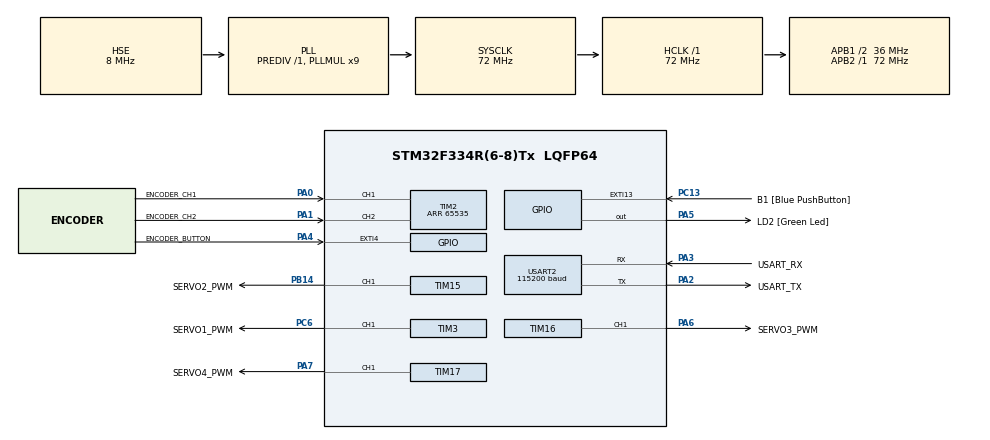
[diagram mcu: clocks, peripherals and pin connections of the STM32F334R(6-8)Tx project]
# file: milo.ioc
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Mcu.Family=STM32F3
TIM15.AutoReloadPreload=TIM_AUTORELOAD_PRELOAD_ENABLE
TIM17.Prescaler=TIM17_PWM_PRESCALER
RCC.CortexFreq_Value=72000000
VP_TIM17_VS_ClockSourceINT.Mode=Enable_Timer
PF0\ /\ OSC_IN.Mode=HSE-External-Clock-Source
PB14.GPIO_Label=SERVO2_PWM
PA14.GPIO_Label=TCK
RCC.SYSCLKSourceVirtual=RCC_SYSCLKSOURCE_PLLCLK
PA0.GPIO_Label=ENCODER_CH1
PC6.GPIO_Label=SERVO1_PWM
PA6.GPIO_Label=SERVO3_PWM
TIM2.EncoderMode=TIM_ENCODERMODE_TI1
PC13.GPIO_Label=B1 [Blue PushButton]
NVIC.TIM6_DAC1_IRQn=true\:0\:0\:false\:false\:true\:true\:true
ProjectManager.StackSize=0x400
TIM17.AutoReloadPreload=TIM_AUTORELOAD_PRELOAD_ENABLE
Mcu.UserConstants=TIM15_PWM_PRESCALER,71;TIM15_PWM_PERIOD,19999;TIM16_PWM_PRESCALER,71;TIM16_PWM_PERIOD,19999;TIM17_PWM_PRESCALER,71;TIM17_PWM_PERIOD,19999;TIM3_PWM_PRESCALER,71;TIM3_PWM_PERIOD,19999;TIM6_PRINT_PRESCALER,7199;TIM6_PRINT_PERIOD,9999
TIM15.Prescaler=TIM15_PWM_PRESCALER
RCC.HCLKFreq_Value=72000000
RCC.APB2TimFreq_Value=72000000
TIM3.Period=TIM3_PWM_PERIOD
RCC.AHBFreq_Value=72000000
TIM3.Channel-PWM\ Generation1\ CH1=TIM_CHANNEL_1
NVIC.EXTI15_10_IRQn=true\:0\:0\:false\:false\:true\:true\:true
RCC.HSE_VALUE=8000000
PA4.GPIO_PuPd=GPIO_PULLUP
TIM17.Channel=TIM_CHANNEL_1
USART2.VirtualMode-Asynchronous=VM_ASYNC
RCC.PLLMUL=RCC_PLL_MUL9
PC14\ /\ OSC32_IN.Mode=LSE-External-Oscillator
TIM15.Period=TIM15_PWM_PERIOD
TIM17.Period=TIM17_PWM_PERIOD
PC14\ /\ OSC32_IN.Signal=RCC_OSC32_IN
PA14.Mode=Serial_Wire
PC15\ /\ OSC32_OUT.Signal=RCC_OSC32_OUT
TIM3.Prescaler=TIM3_PWM_PRESCALER
SH.S_TIM3_CH1.0=TIM3_CH1,PWM Generation1 CH1
TIM6.Period=TIM6_PRINT_PERIOD
PA0.Signal=S_TIM2_CH1_ETR
RCC.FLatency-AdvancedSettings=FLASH_LATENCY_2
Mcu.Package=LQFP64
PA6.Signal=S_TIM16_CH1
PA2.GPIO_Label=USART_TX
PC15\ /\ OSC32_OUT.Mode=LSE-External-Oscillator
TIM16.AutoReloadPreload=TIM_AUTORELOAD_PRELOAD_ENABLE
RCC.APB1TimFreq_Value=72000000
TIM16.Prescaler=TIM16_PWM_PRESCALER
PA4.GPIO_Label=ENCODER_BUTTON
TIM15.Channel-PWM\ Generation1\ CH1=TIM_CHANNEL_1
PA3.Signal=USART2_RX
PB3.GPIO_Label=SWO
RCC.PLLSourceVirtual=RCC_PLLSOURCE_HSE
NVIC.EXTI4_IRQn=true\:0\:0\:false\:false\:true\:true\:true
TIM3.AutoReloadPreload=TIM_AUTORELOAD_PRELOAD_ENABLE
TIM2.IC1Filter=15
PC13.Signal=GPXTI13
TIM6.Prescaler=TIM6_PRINT_PRESCALER
PC6.Signal=S_TIM3_CH1
VP_TIM6_VS_ClockSourceINT.Mode=Enable_Timer
SH.S_TIM16_CH1.0=TIM16_CH1,PWM Generation1 CH1
VP_TIM16_VS_ClockSourceINT.Mode=Enable_Timer
RCC.APB1CLKDivider=RCC_HCLK_DIV2
NVIC.USART2_IRQn=true\:0\:0\:false\:false\:true\:true\:true
TIM16.Channel=TIM_CHANNEL_1
USART2.BaudRate=115200
PA13.Signal=SYS_JTMS-SWDIO
PA3.Mode=Asynchronous
SH.S_TIM2_CH2.0=TIM2_CH2,Encoder_Interface
ProjectManager.TargetToolchain=STM32CubeIDE
PA4.GPIO_ModeDefaultEXTI=GPIO_MODE_IT_FALLING
PA1.Signal=S_TIM2_CH2
PF1\ /\ OSC_OUT.Signal=RCC_OSC_OUT
PB14.Signal=S_TIM15_CH1
PA5.Signal=GPIO_Output
board=NUCLEO-F334R8
SH.S_TIM15_CH1.0=TIM15_CH1,PWM Generation1 CH1
TIM16.Period=TIM16_PWM_PERIOD
RCC.APB2Freq_Value=72000000
PF0\ /\ OSC_IN.Signal=RCC_OSC_IN
PA1.GPIO_Label=ENCODER_CH2
TIM2.Period=65535
PC15\ /\ OSC32_OUT.GPIO_Label=RCC_OSC32_OUT
PA13.Mode=Serial_Wire
Mcu.Name=STM32F334R(6-8)Tx
PA2.Signal=USART2_TX
PA13.GPIO_Label=TMS
PB3.Signal=SYS_JTDO-TRACESWO
PA4.Signal=GPXTI4
RCC.SYSCLKFreq_VALUE=72000000
PA7.GPIO_Label=SERVO4_PWM
PA5.GPIO_Label=LD2 [Green Led]
PC13.GPIO_ModeDefaultEXTI=GPIO_MODE_IT_FALLING
SH.S_TIM2_CH1_ETR.0=TIM2_CH1,Encoder_Interface
PA14.Signal=SYS_JTCK-SWCLK
ProjectManager.HeapSize=0x200
RCC.HSI_VALUE=8000000
SH.S_TIM17_CH1.0=TIM17_CH1,PWM Generation1 CH1
NVIC.PriorityGroup=NVIC_PRIORITYGROUP_0
PA2.Mode=Asynchronous
RCC.APB1Freq_Value=36000000
TIM2.IC2Filter=15
PA3.GPIO_Label=USART_RX
PA7.Signal=S_TIM17_CH1

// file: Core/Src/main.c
/* USER CODE BEGIN Header */
/**
  ******************************************************************************
  * @file           : main.c
  * @brief          : Main program body
  ******************************************************************************
  * @attention
  *
  * <h2><center>&copy; Copyright (c) 2021 STMicroelectronics.
  * All rights reserved.</center></h2>
  *
  * This software component is licensed by ST under BSD 3-Clause license,
  * the "License"; You may not use this file except in compliance with the
  * License. You may obtain a copy of the License at:
  *                        opensource.org/licenses/BSD-3-Clause
  *
  ******************************************************************************
  */
/* USER CODE END Header */
#include "main.h"
#include "tim.h"
#include "usart.h"
#include "gpio.h"

/* USER CODE BEGIN Includes */

#include <stdio.h>
#include <stdlib.h>
#include "servo.h"
#include "manipulator.h"

/* USER CODE END Includes */

/* USER CODE BEGIN PTD */

#define IS_NUMERIC_STRING(d) (*(char*)d >= 48) && (*(char*)d<= 57)
#define CONVERSION(d,k)  ((d<<3) +(d<<1))+(*(char*)k-48);

uint32_t
string_to_int(uint8_t *pszBuffer) {
    uint32_t u32Number=0;
    while( IS_NUMERIC_STRING(pszBuffer)) {
        u32Number=CONVERSION(u32Number,pszBuffer);
        pszBuffer++;
    }
    return u32Number;
}

/* USER CODE END PTD */

/* USER CODE BEGIN PV */

UART_HandleTypeDef huart2;
uint32_t button = 0;
uint8_t message;
uint8_t set[5];
int16_t enc_val;
manipulator_t milo = { 0 };
uint16_t servo_angle[3] = { 0 };
uint8_t mode = 0;

/* USER CODE END PV */

void SystemClock_Config(void);
/* USER CODE BEGIN PFP */

int
_write(int file, uint8_t *ptr, int len) {
	HAL_UART_Transmit_IT(&huart2, ptr, len);
	return len;
}

/* USER CODE END PFP */

int main(void)
{

  /* MCU Configuration--------------------------------------------------------*/

  /* Reset of all peripherals, Initializes the Flash interface and the Systick. */
  HAL_Init();

  /* Configure the system clock */
  SystemClock_Config();

  /* Initialize all configured peripherals */
  MX_GPIO_Init();
  MX_USART2_UART_Init();
  MX_TIM2_Init();
  MX_TIM15_Init();
  MX_TIM16_Init();
  MX_TIM17_Init();
  MX_TIM3_Init();
  MX_TIM6_Init();
  /* USER CODE BEGIN 2 */

  //HAL_TIM_Base_Start_IT(&htim6); // debug
  HAL_TIM_PWM_Start(&htim3, TIM_CHANNEL_1);
  HAL_TIM_PWM_Start(&htim15, TIM_CHANNEL_1);
  HAL_TIM_PWM_Start(&htim16, TIM_CHANNEL_1);
  HAL_TIM_PWM_Start(&htim17, TIM_CHANNEL_1);
  HAL_TIM_Encoder_Start(&htim2, TIM_CHANNEL_1);
  HAL_UART_Receive_IT(&huart2, &message, 1);
  manipulator_init(&milo);
  /*
  servo_init(&(milo->ft[0], htim15, TIM_CHANNEL_1, 0, 0, 1800, 500, 2500);
  servo_init(&(milo->ft[1], htim16, TIM_CHANNEL_1, 0, 0, 1800, 500, 2500);
  servo_init(&(milo->ft[2], htim17, TIM_CHANNEL_1, 0, 0, 1800, 500, 2500);
  */

  /* USER CODE END 2 */

  /* Infinite loop */
  while (1)
  {

    /* USER CODE BEGIN 3 */

	  /*
	if (HAL_GPIO_ReadPin(ENCODER_BUTTON_GPIO_Port, ENCODER_BUTTON_Pin)) {
		button++;
		printf("Odczyt: %ld; Przycisk: %ld\r\n", count, button);
		HAL_Delay(50);
		while (!HAL_GPIO_ReadPin(ENCODER_BUTTON_GPIO_Port, ENCODER_BUTTON_Pin));
	}
	*/

	 // sprawdzenie overflow
	 if (mode == 0) {
		 enc_val = __HAL_TIM_GET_COUNTER(&htim2);
		 if (enc_val < 0) {
			 enc_val = 0;
		 } else if (enc_val > 180) {
			 enc_val = 180;
		 }
		 milo.q[button] = enc_val;
		 manipulator_fk(&milo);
	 } else if (mode == 1) {
		 manipulator_backward(&milo, 5, milo.effector.x, milo.effector.y, milo.effector.z);
		 manipulator_calculate_angles(&milo);
		 manipulator_update(&milo);
	 }

	  /*
	 servo_angle[button]= enc_val;
	 servo_set(&ft[0], servo_angle[0] * 10, 0);
	 servo_set(&ft[1], servo_angle[1] * 10, 0);
	 servo_set(&ft[2], servo_angle[2] * 10, 0);
	 */
	 //printf("servo[0]: %d; servo[1]: %d; servo[2]: %d; Przycisk: %ld\r\n", servo_angle[0], servo_angle[1], servo_angle[2], button);

	  //manipulator_update(&milo);
	 printf("q1 = %d, q2 = %d, q3 = %d, x = %d, y = %d, z = %d\r\n", (int)(milo.q[0]), (int)(milo.q[1]), (int)(milo.q[2]), (int)milo.effector.x, (int)milo.effector.y, (int)milo.effector.z);
	 HAL_Delay(100);
	 //servo_set(&milo.mg, 0, 0);
	 //HAL_Delay(3000);
	 //servo_set(&milo.mg, 1800, 0);
  }
  /* USER CODE END 3 */
}

void SystemClock_Config(void)
{
  RCC_OscInitTypeDef RCC_OscInitStruct = {0};
  RCC_ClkInitTypeDef RCC_ClkInitStruct = {0};

  /** Initializes the RCC Oscillators according to the specified parameters
  * in the RCC_OscInitTypeDef structure.
  */
  RCC_OscInitStruct.OscillatorType = RCC_OSCILLATORTYPE_HSE;
  RCC_OscInitStruct.HSEState = RCC_HSE_BYPASS;
  RCC_OscInitStruct.HSEPredivValue = RCC_HSE_PREDIV_DIV1;
  RCC_OscInitStruct.HSIState = RCC_HSI_ON;
  RCC_OscInitStruct.PLL.PLLState = RCC_PLL_ON;
  RCC_OscInitStruct.PLL.PLLSource = RCC_PLLSOURCE_HSE;
  RCC_OscInitStruct.PLL.PLLMUL = RCC_PLL_MUL9;
  if (HAL_RCC_OscConfig(&RCC_OscInitStruct) != HAL_OK)
  {
    Error_Handler();
  }
  /** Initializes the CPU, AHB and APB buses clocks
  */
  RCC_ClkInitStruct.ClockType = RCC_CLOCKTYPE_HCLK|RCC_CLOCKTYPE_SYSCLK
                              |RCC_CLOCKTYPE_PCLK1|RCC_CLOCKTYPE_PCLK2;
  RCC_ClkInitStruct.SYSCLKSource = RCC_SYSCLKSOURCE_PLLCLK;
  RCC_ClkInitStruct.AHBCLKDivider = RCC_SYSCLK_DIV1;
  RCC_ClkInitStruct.APB1CLKDivider = RCC_HCLK_DIV2;
  RCC_ClkInitStruct.APB2CLKDivider = RCC_HCLK_DIV1;

  if (HAL_RCC_ClockConfig(&RCC_ClkInitStruct, FLASH_LATENCY_2) != HAL_OK)
  {
    Error_Handler();
  }
}

/* USER CODE BEGIN 4 */

void
HAL_GPIO_EXTI_Callback(uint16_t GPIO_Pin) {
	if (GPIO_Pin == ENCODER_BUTTON_Pin) {
		button++;
		button = button % 4;
		__HAL_TIM_SET_COUNTER(&htim2, milo.q[button]);
		printf("button: %ld\r\n", button);
	} else if (GPIO_Pin == B1_Pin) {
		mode++;
		mode = mode % 2;
		printf("mode: %d\r\n", mode);
	}

}

void
HAL_UART_RxCpltCallback(UART_HandleTypeDef *huart) {
	if (huart->Instance == USART2) {
		if (message == 'b') {
			printf("b %ld;\r\n", button);
		} else if (message == 'c') {
			uint8_t button_number;
			HAL_UART_Receive(huart, &button_number, 1, 10);
			button = button_number - '0';
			printf("c %ld;\r\n", button);
		} else if (message == 'e') {
			printf("e %ld;\r\n", __HAL_TIM_GET_COUNTER(&htim2));
		} else if (message == 'a') {
			uint8_t servo_number, semicolon;
			HAL_UART_Receive(huart, &servo_number, 1, 10);
			HAL_UART_Receive(huart, &semicolon, 1, 10);	// semicolon
			printf("a%c %d;\r\n", servo_number, (int)milo.q[servo_number - '0']);
		} else if (message == 'd') {
			uint8_t semicolon;
			HAL_UART_Receive(huart, &semicolon, 1, 10);	// semicolon
			printf("d;%d;%d;%d;%d\r\n", (int)milo.q[0], (int)milo.q[1], (int)milo.q[2], (int)milo.q[3]);
		} else if (message == 's') {
			uint8_t set_servo_number, tmp, set_servo_angle_str[4];
			uint8_t set_servo_angle_int;
			HAL_UART_Receive(huart, &set_servo_number, 1, 10);
			HAL_UART_Receive(huart, &tmp, 1, 10); // space
			for (uint8_t i = 0; i < 4; i++) {
			HAL_UART_Receive(huart, &tmp, 1, 10);
				if (tmp == ';') {
					set_servo_angle_str[i] = 0;
					break;
				}
				set_servo_angle_str[i] = tmp;
			}
			set_servo_angle_int = string_to_int(set_servo_angle_str);
			if (set_servo_angle_int > 180) {
				set_servo_angle_int = 180;
				printf("zbyt duzy kat\r\n");
			} else if (set_servo_angle_int < 0) {
				set_servo_angle_int = 0;
				printf("zbyt maly kat\r\n");
			}
			milo.q[set_servo_number - '0'] = set_servo_angle_int;
			if (set_servo_number - '0' == button) {
				__HAL_TIM_SET_COUNTER(&htim2, set_servo_angle_int);
			}
			printf("s%c %d;\r\n", set_servo_number, set_servo_angle_int);
		} else if (message == 'h') {
			milo.effector.x--;
		} else if (message == 'y') {
			milo.effector.x++;
		} else if (message == 'j') {
			milo.effector.y--;
		} else if (message == 'u') {
			milo.effector.y++;
		} else if (message == 'k') {
			milo.effector.z--;
		} else if (message == 'i') {
			milo.effector.z++;
		} else if (message == 'o') {
			milo.effector.x = 49.0;
			milo.effector.y = 29.0;
			milo.effector.z = 0.0;
		} else {
			printf("Niepoprawne dane\r\n");
		}
		HAL_UART_Receive_IT(huart, &message, 1);
	}
}

void
HAL_TIM_PeriodElapsedCallback(TIM_HandleTypeDef *htim) {
	if (htim == &htim6) {	// wyswietlanie aktualnych danych do debugu
		printf("a0: %d; a1: %d; a2: %d; b: %ld\r\n", servo_angle[0], servo_angle[1], servo_angle[2], button);
	}
}

/* USER CODE END 4 */

void Error_Handler(void)
{
}

/************************ (C) COPYRIGHT STMicroelectronics *****END OF FILE****/
